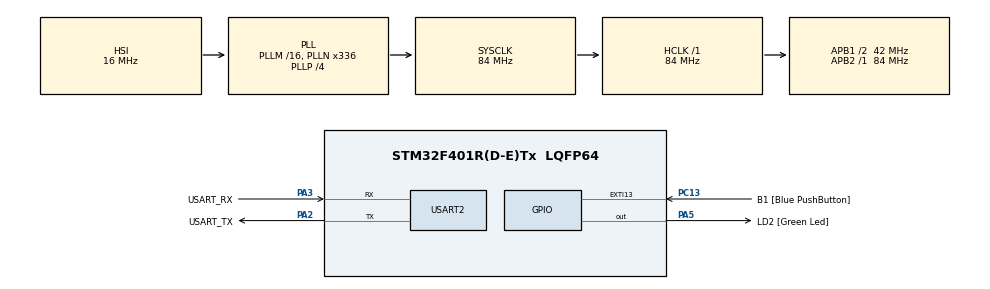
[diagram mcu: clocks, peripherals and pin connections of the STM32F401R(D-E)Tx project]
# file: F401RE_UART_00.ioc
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Mcu.Family=STM32F4
Mcu.Name=STM32F401R(D-E)Tx
Mcu.Package=LQFP64
NVIC.PriorityGroup=NVIC_PRIORITYGROUP_0
PA13.GPIO_Label=TMS
PA13.Signal=SYS_JTMS-SWDIO
PA14.GPIO_Label=TCK
PA14.Signal=SYS_JTCK-SWCLK
PA2.GPIO_Label=USART_TX
PA2.GPIO_Mode=GPIO_MODE_AF_PP
PA2.GPIO_PuPd=GPIO_NOPULL
PA2.GPIO_Speed=GPIO_SPEED_FREQ_LOW
PA2.Mode=Asynchronous
PA2.Signal=USART2_TX
PA3.GPIO_Label=USART_RX
PA3.GPIO_Mode=GPIO_MODE_AF_PP
PA3.GPIO_PuPd=GPIO_NOPULL
PA3.GPIO_Speed=GPIO_SPEED_FREQ_LOW
PA3.Mode=Asynchronous
PA3.Signal=USART2_RX
PA5.GPIO_Label=LD2 [Green Led]
PA5.GPIO_Mode=GPIO_MODE_OUTPUT_PP
PA5.GPIO_PuPd=GPIO_NOPULL
PA5.GPIO_Speed=GPIO_SPEED_FREQ_LOW
PA5.Signal=GPIO_Output
PB3.GPIO_Label=SWO
PB3.Signal=SYS_JTDO-SWO
PC13-ANTI_TAMP.GPIO_Label=B1 [Blue PushButton]
PC13-ANTI_TAMP.GPIO_ModeDefaultEXTI=GPIO_MODE_EVT_RISING
PC13-ANTI_TAMP.GPIO_PuPd=GPIO_NOPULL
PC13-ANTI_TAMP.Signal=GPXTI13
PC14-OSC32_IN.Signal=RCC_OSC32_IN
PC15-OSC32_OUT.Signal=RCC_OSC32_OUT
PH0\ -\ OSC_IN.Signal=RCC_OSC_IN
PH1\ -\ OSC_OUT.Signal=RCC_OSC_OUT
ProjectManager.HeapSize=0x200
ProjectManager.StackSize=0x400
ProjectManager.TargetToolchain=MDK-ARM V5
RCC.AHBFreq_Value=84000000
RCC.APB1CLKDivider=RCC_HCLK_DIV2
RCC.APB1Freq_Value=42000000
RCC.APB1TimFreq_Value=84000000
RCC.APB2Freq_Value=84000000
RCC.APB2TimFreq_Value=84000000
RCC.CortexFreq_Value=84000000
RCC.HCLKFreq_Value=84000000
RCC.HSE_VALUE=8000000
RCC.HSI_VALUE=16000000
RCC.LSE_VALUE=32768
RCC.PLLN=336
RCC.PLLP=RCC_PLLP_DIV4
RCC.PLLQ=7
RCC.SYSCLKFreq_VALUE=84000000
RCC.SYSCLKSource=RCC_SYSCLKSOURCE_PLLCLK
RCC.VCOOutputFreq_Value=336000000
board=NUCLEO-F401RE

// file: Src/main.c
/**
  ******************************************************************************
  * File Name          : main.c
  * Description        : Main program body
  ******************************************************************************
  *
  * COPYRIGHT(c) 2016 STMicroelectronics
  *
  * Redistribution and use in source and binary forms, with or without modification,
  * are permitted provided that the following conditions are met:
  *   1. Redistributions of source code must retain the above copyright notice,
  *      this list of conditions and the following disclaimer.
  *   2. Redistributions in binary form must reproduce the above copyright notice,
  *      this list of conditions and the following disclaimer in the documentation
  *      and/or other materials provided with the distribution.
  *   3. Neither the name of STMicroelectronics nor the names of its contributors
  *      may be used to endorse or promote products derived from this software
  *      without specific prior written permission.
  *
  * THIS SOFTWARE IS PROVIDED BY THE COPYRIGHT HOLDERS AND CONTRIBUTORS "AS IS"
  * AND ANY EXPRESS OR IMPLIED WARRANTIES, INCLUDING, BUT NOT LIMITED TO, THE
  * IMPLIED WARRANTIES OF MERCHANTABILITY AND FITNESS FOR A PARTICULAR PURPOSE ARE
  * DISCLAIMED. IN NO EVENT SHALL THE COPYRIGHT HOLDER OR CONTRIBUTORS BE LIABLE
  * FOR ANY DIRECT, INDIRECT, INCIDENTAL, SPECIAL, EXEMPLARY, OR CONSEQUENTIAL
  * DAMAGES (INCLUDING, BUT NOT LIMITED TO, PROCUREMENT OF SUBSTITUTE GOODS OR
  * SERVICES; LOSS OF USE, DATA, OR PROFITS; OR BUSINESS INTERRUPTION) HOWEVER
  * CAUSED AND ON ANY THEORY OF LIABILITY, WHETHER IN CONTRACT, STRICT LIABILITY,
  * OR TORT (INCLUDING NEGLIGENCE OR OTHERWISE) ARISING IN ANY WAY OUT OF THE USE
  * OF THIS SOFTWARE, EVEN IF ADVISED OF THE POSSIBILITY OF SUCH DAMAGE.
  *
  ******************************************************************************
  */
#include "stm32f4xx_hal.h"

/* USER CODE BEGIN Includes */
#include <stdio.h>
#include <string.h>
/* USER CODE END Includes */

UART_HandleTypeDef huart2;

/* USER CODE BEGIN PV */
/* Private variables ---------------------------------------------------------*/

/* USER CODE END PV */

void SystemClock_Config(void);
void Error_Handler(void);
static void MX_GPIO_Init(void);
static void MX_USART2_UART_Init(void);

/* USER CODE BEGIN PFP */
/* Private function prototypes -----------------------------------------------*/
char sio_getc(void);		// UARTから1文字取得
void sio_putc(char);		// UARTに1文字を出力
void sio_puts(char *);	// UARTに文字列を出力

/* USER CODE END PFP */

/* USER CODE BEGIN 0 */
char sio_getc()
{
	char ch;
	while(HAL_UART_Receive(&huart2, (uint8_t *)&ch, 1, 1000)==HAL_TIMEOUT) ;
	return ch;
}

void sio_putc(char ch)
{
	HAL_UART_Transmit(&huart2, (uint8_t *)&ch, 1, 1000);
}

void sio_puts(char *str)
{
	HAL_UART_Transmit(&huart2, (uint8_t *)str, strlen(str), 1000);
}
/* USER CODE END 0 */

int main(void)
{

  /* USER CODE BEGIN 1 */
	int ch;

  /* USER CODE END 1 */

  /* MCU Configuration----------------------------------------------------------*/

  /* Reset of all peripherals, Initializes the Flash interface and the Systick. */
  HAL_Init();

  /* Configure the system clock */
  SystemClock_Config();

  /* Initialize all configured peripherals */
  MX_GPIO_Init();
  MX_USART2_UART_Init();

  /* USER CODE BEGIN 2 */
	sio_puts("F401RE-USART2\n");

  /* USER CODE END 2 */

  /* Infinite loop */
  /* USER CODE BEGIN WHILE */
  while (1)
  {
	  ch = sio_getc();
	  sio_putc(ch);
  /* USER CODE END WHILE */

  }

}

/** System Clock Configuration
*/
void SystemClock_Config(void)
{

  RCC_OscInitTypeDef RCC_OscInitStruct;
  RCC_ClkInitTypeDef RCC_ClkInitStruct;

  __HAL_RCC_PWR_CLK_ENABLE();

  __HAL_PWR_VOLTAGESCALING_CONFIG(PWR_REGULATOR_VOLTAGE_SCALE2);

  RCC_OscInitStruct.OscillatorType = RCC_OSCILLATORTYPE_HSI;
  RCC_OscInitStruct.HSIState = RCC_HSI_ON;
  RCC_OscInitStruct.HSICalibrationValue = 16;
  RCC_OscInitStruct.PLL.PLLState = RCC_PLL_ON;
  RCC_OscInitStruct.PLL.PLLSource = RCC_PLLSOURCE_HSI;
  RCC_OscInitStruct.PLL.PLLM = 16;
  RCC_OscInitStruct.PLL.PLLN = 336;
  RCC_OscInitStruct.PLL.PLLP = RCC_PLLP_DIV4;
  RCC_OscInitStruct.PLL.PLLQ = 7;
  if (HAL_RCC_OscConfig(&RCC_OscInitStruct) != HAL_OK)
  {
    Error_Handler();
  }

  RCC_ClkInitStruct.ClockType = RCC_CLOCKTYPE_HCLK|RCC_CLOCKTYPE_SYSCLK
                              |RCC_CLOCKTYPE_PCLK1|RCC_CLOCKTYPE_PCLK2;
  RCC_ClkInitStruct.SYSCLKSource = RCC_SYSCLKSOURCE_PLLCLK;
  RCC_ClkInitStruct.AHBCLKDivider = RCC_SYSCLK_DIV1;
  RCC_ClkInitStruct.APB1CLKDivider = RCC_HCLK_DIV2;
  RCC_ClkInitStruct.APB2CLKDivider = RCC_HCLK_DIV1;
  if (HAL_RCC_ClockConfig(&RCC_ClkInitStruct, FLASH_LATENCY_2) != HAL_OK)
  {
    Error_Handler();
  }

  HAL_SYSTICK_Config(HAL_RCC_GetHCLKFreq()/1000);

  HAL_SYSTICK_CLKSourceConfig(SYSTICK_CLKSOURCE_HCLK);

  /* SysTick_IRQn interrupt configuration */
  HAL_NVIC_SetPriority(SysTick_IRQn, 0, 0);
}

/* USART2 init function */
static void MX_USART2_UART_Init(void)
{

  huart2.Instance = USART2;
  huart2.Init.BaudRate = 115200;
  huart2.Init.WordLength = UART_WORDLENGTH_8B;
  huart2.Init.StopBits = UART_STOPBITS_1;
  huart2.Init.Parity = UART_PARITY_NONE;
  huart2.Init.Mode = UART_MODE_TX_RX;
  huart2.Init.HwFlowCtl = UART_HWCONTROL_NONE;
  huart2.Init.OverSampling = UART_OVERSAMPLING_16;
  if (HAL_UART_Init(&huart2) != HAL_OK)
  {
    Error_Handler();
  }

}

/** Configure pins as
        * Analog
        * Input
        * Output
        * EVENT_OUT
        * EXTI
*/
static void MX_GPIO_Init(void)
{

  GPIO_InitTypeDef GPIO_InitStruct;

  /* GPIO Ports Clock Enable */
  __HAL_RCC_GPIOC_CLK_ENABLE();
  __HAL_RCC_GPIOH_CLK_ENABLE();
  __HAL_RCC_GPIOA_CLK_ENABLE();
  __HAL_RCC_GPIOB_CLK_ENABLE();

  /*Configure GPIO pin : B1_Pin */
  GPIO_InitStruct.Pin = B1_Pin;
  GPIO_InitStruct.Mode = GPIO_MODE_EVT_RISING;
  GPIO_InitStruct.Pull = GPIO_NOPULL;
  HAL_GPIO_Init(B1_GPIO_Port, &GPIO_InitStruct);

  /*Configure GPIO pin : LD2_Pin */
  GPIO_InitStruct.Pin = LD2_Pin;
  GPIO_InitStruct.Mode = GPIO_MODE_OUTPUT_PP;
  GPIO_InitStruct.Pull = GPIO_NOPULL;
  GPIO_InitStruct.Speed = GPIO_SPEED_FREQ_LOW;
  HAL_GPIO_Init(LD2_GPIO_Port, &GPIO_InitStruct);

  /*Configure GPIO pin Output Level */
  HAL_GPIO_WritePin(LD2_GPIO_Port, LD2_Pin, GPIO_PIN_RESET);

}

void Error_Handler(void)
{
  while(1)
  {
  }
}

/************************ (C) COPYRIGHT STMicroelectronics *****END OF FILE****/
